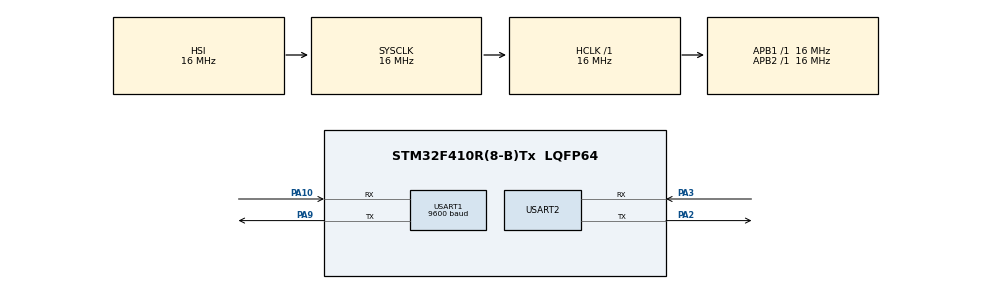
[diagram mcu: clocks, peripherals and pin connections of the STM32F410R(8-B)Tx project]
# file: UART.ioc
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Mcu.Family=STM32F4
Mcu.Name=STM32F410R(8-B)Tx
Mcu.Package=LQFP64
NVIC.PriorityGroup=NVIC_PRIORITYGROUP_4
NVIC.USART1_IRQn=true\:0\:0\:false\:false\:true\:true\:true\:true
NVIC.USART2_IRQn=true\:0\:0\:false\:false\:true\:true\:true\:true
PA10.Mode=Asynchronous
PA10.Signal=USART1_RX
PA13.Mode=Serial_Wire
PA13.Signal=SYS_JTMS-SWDIO
PA14.Mode=Serial_Wire
PA14.Signal=SYS_JTCK-SWCLK
PA2.Mode=Asynchronous
PA2.Signal=USART2_TX
PA3.Mode=Asynchronous
PA3.Signal=USART2_RX
PA9.Mode=Asynchronous
PA9.Signal=USART1_TX
ProjectManager.HeapSize=0x200
ProjectManager.StackSize=0x400
ProjectManager.TargetToolchain=STM32CubeIDE
RCC.AHBFreq_Value=16000000
RCC.APB1Freq_Value=16000000
RCC.APB2Freq_Value=16000000
RCC.CortexFreq_Value=16000000
RCC.HSE_VALUE=25000000
RCC.HSI_VALUE=16000000
RCC.LSE_VALUE=32768
RCC.SYSCLKFreq_VALUE=16000000
RCC.VCOOutputFreq_Value=192000000
USART1.BaudRate=9600
USART1.VirtualMode=VM_ASYNC
USART2.Parity=PARITY_NONE
USART2.VirtualMode=VM_ASYNC
board=custom

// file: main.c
/* USER CODE BEGIN Header */
/**
 ******************************************************************************
 * @file           : main.c
 * @brief          : Main program body
 ******************************************************************************
 * @attention
 *
 * Copyright (c) 2022 STMicroelectronics.
 * All rights reserved.
 *
 * This software is licensed under terms that can be found in the LICENSE file
 * in the root directory of this software component.
 * If no LICENSE file comes with this software, it is provided AS-IS.
 *
 ******************************************************************************
 */
/* USER CODE END Header */
#include "main.h"
#include <string.h>
#include <stdlib.h>

/* USER CODE BEGIN PD */
#define GPS_TRAME_SIZE 1000
/* USER CODE END PD */

UART_HandleTypeDef huart1;
UART_HandleTypeDef huart2;

/* USER CODE BEGIN PV */
char uart_gps_rx[1];
char uart_pc_tx[1];
uint8_t it_rx_gps=0;
int i = 0;
char coordonnees[GPS_TRAME_SIZE];
const char OK[]="OK*35";
char longitude_data[10];
char latitude_data[10];
char position[23];
char lat2[2];
char lat7[7];
char long3[3];
char long7[7];
double lata;
double latb;
double latitude;
double longitude;
int first_data = 0;
int data_rdy = 0;
char uart_tx_buffer[128];

double latENSEA = 49.0389554;
double longiENSEA = 2.0712599;
double DistanceMilesCarre;
double DistanceCarre;

/* USER CODE END PV */

void SystemClock_Config(void);
static void MX_GPIO_Init(void);
static void MX_USART2_UART_Init(void);
static void MX_USART1_UART_Init(void);

/* USER CODE BEGIN 0 */

//lat  49.039566040039062
//long 2.0719516277313232

void Perimetre(void){

	DistanceMilesCarre = (((latENSEA - latitude)*(latENSEA - latitude)) + ((longiENSEA - longitude)*(longiENSEA - longitude)));
	DistanceCarre = (DistanceMilesCarre/3.429904);

	if(DistanceCarre >= 0.0000012){ //Perdu environ à partir de l'arrêt de bus.
		HAL_UART_Transmit(&huart2, uart_tx_buffer, strlen(uart_tx_buffer), HAL_MAX_DELAY);
		sprintf(uart_tx_buffer,"Je suis perdu, venez me chercher. Je suis en lat : %lf, long : %lf \r\n", latitude, longitude);
	}
}

/* USER CODE END 0 */

int main(void)
{

	/* MCU Configuration--------------------------------------------------------*/

	/* Reset of all peripherals, Initializes the Flash interface and the Systick. */
	HAL_Init();

	/* Configure the system clock */
	SystemClock_Config();

	/* Initialize all configured peripherals */
	MX_GPIO_Init();
	MX_USART2_UART_Init();
	MX_USART1_UART_Init();
	/* USER CODE BEGIN 2 */
	HAL_UART_Receive_IT(&huart1, uart_gps_rx, 1);

	/* USER CODE END 2 */

	/* Infinite loop */
	while (1)
	{

		/* USER CODE BEGIN 3 */

		if(it_rx_gps){
			if(data_rdy == 1){
				for(int j = 0; j<=23;j++){
					position[j] = coordonnees[j+18]; //position[] comprend la latitude et la longitude
				}

				for(int k = 0; k<=9;k++){
					latitude_data[k] = position[k]; //latitude non convertie
				}
				for(int l = 0; l<=10;l++){
					longitude_data[l] = position[l+13]; //longitude non convertie
				}

				lat2[0] = latitude_data[0];
				lat2[1] = latitude_data[1]; //lat2 -> les deux digits du degré de la lat.

				for(int m = 0; m<=6;m++){
					lat7[m] = latitude_data[m+2]; //lat 7 -> ce qui reste de la lat.
				}

				long3[0] = longitude_data[0];
				long3[1] = longitude_data[1];
				long3[2] = longitude_data[2]; //long3 -> les trois digits du degré de la long.

				for(int n = 0; n<=6;n++){
					long7[n] = longitude_data[n+3]; //long7 -> ce qui reste de la long.
				}

				float deg_lat = atof(lat2);
				float reste_lat = atof(lat7); //conversion du char[lat] en float[lat]

				float deg_long = atof(long3);
				float reste_long = atof(long7); //conversion du char[long] en float[long]

				latitude = deg_lat + (reste_lat/60); //latitude convertie
				longitude = deg_long + (reste_long/60); //longitude convertie

				HAL_UART_Transmit(&huart2, uart_tx_buffer, strlen(uart_tx_buffer), HAL_MAX_DELAY);
				sprintf(uart_tx_buffer,"latitude : %lf,\r\n longitude : %lf \r\n", latitude, longitude);

				Perimetre();

				data_rdy = 0;

			}
			if(uart_gps_rx[0]==10){
				HAL_UART_Transmit(&huart2, "\r\n", 2, HAL_MAX_DELAY); //Arrangement de la trame
			}
			else{
				uart_pc_tx[0]=uart_gps_rx[0];
				HAL_UART_Transmit(&huart2, uart_pc_tx, 1, HAL_MAX_DELAY);
				coordonnees[i] = uart_pc_tx[0]; //On copie ce qui passe dans l'UART dans un tableau coordonnees[i].
				if(i >= 4){
					if(strncmp("OK*35",&coordonnees[i-4],5) == 0){
						i = 0; //Si on trouve "OK", on réinitialise i à 0 pour synchroniser notre trame.
						if(first_data == 1){
							data_rdy = 1; //Si la trame est initialisée, le premier caractère du tableau voulu est prêt.
						}
						else first_data = 1; //Permet d'enregistrer le tableau désiré.
					}
					else{
						if(i == GPS_TRAME_SIZE-1){
							i = 0;
						}
						else{
							i++;
						}

					}

				}
				else i++;
			}

			it_rx_gps = 0;
		}

	}
	/* USER CODE END 3 */
}

void SystemClock_Config(void)
{
	RCC_OscInitTypeDef RCC_OscInitStruct = {0};
	RCC_ClkInitTypeDef RCC_ClkInitStruct = {0};

	/** Configure the main internal regulator output voltage
	 */
	__HAL_RCC_PWR_CLK_ENABLE();
	__HAL_PWR_VOLTAGESCALING_CONFIG(PWR_REGULATOR_VOLTAGE_SCALE1);

	/** Initializes the RCC Oscillators according to the specified parameters
	 * in the RCC_OscInitTypeDef structure.
	 */
	RCC_OscInitStruct.OscillatorType = RCC_OSCILLATORTYPE_HSI;
	RCC_OscInitStruct.HSIState = RCC_HSI_ON;
	RCC_OscInitStruct.HSICalibrationValue = RCC_HSICALIBRATION_DEFAULT;
	RCC_OscInitStruct.PLL.PLLState = RCC_PLL_NONE;
	if (HAL_RCC_OscConfig(&RCC_OscInitStruct) != HAL_OK)
	{
		Error_Handler();
	}

	/** Initializes the CPU, AHB and APB buses clocks
	 */
	RCC_ClkInitStruct.ClockType = RCC_CLOCKTYPE_HCLK|RCC_CLOCKTYPE_SYSCLK
			|RCC_CLOCKTYPE_PCLK1|RCC_CLOCKTYPE_PCLK2;
	RCC_ClkInitStruct.SYSCLKSource = RCC_SYSCLKSOURCE_HSI;
	RCC_ClkInitStruct.AHBCLKDivider = RCC_SYSCLK_DIV1;
	RCC_ClkInitStruct.APB1CLKDivider = RCC_HCLK_DIV1;
	RCC_ClkInitStruct.APB2CLKDivider = RCC_HCLK_DIV1;

	if (HAL_RCC_ClockConfig(&RCC_ClkInitStruct, FLASH_LATENCY_0) != HAL_OK)
	{
		Error_Handler();
	}
}

static void MX_USART1_UART_Init(void)
{

	huart1.Instance = USART1;
	huart1.Init.BaudRate = 9600;
	huart1.Init.WordLength = UART_WORDLENGTH_8B;
	huart1.Init.StopBits = UART_STOPBITS_1;
	huart1.Init.Parity = UART_PARITY_NONE;
	huart1.Init.Mode = UART_MODE_TX_RX;
	huart1.Init.HwFlowCtl = UART_HWCONTROL_NONE;
	huart1.Init.OverSampling = UART_OVERSAMPLING_16;
	if (HAL_UART_Init(&huart1) != HAL_OK)
	{
		Error_Handler();
	}

}

static void MX_USART2_UART_Init(void)
{

	huart2.Instance = USART2;
	huart2.Init.BaudRate = 115200;
	huart2.Init.WordLength = UART_WORDLENGTH_8B;
	huart2.Init.StopBits = UART_STOPBITS_1;
	huart2.Init.Parity = UART_PARITY_NONE;
	huart2.Init.Mode = UART_MODE_TX_RX;
	huart2.Init.HwFlowCtl = UART_HWCONTROL_NONE;
	huart2.Init.OverSampling = UART_OVERSAMPLING_16;
	if (HAL_UART_Init(&huart2) != HAL_OK)
	{
		Error_Handler();
	}

}

static void MX_GPIO_Init(void)
{

	/* GPIO Ports Clock Enable */
	__HAL_RCC_GPIOA_CLK_ENABLE();

}

/* USER CODE BEGIN 4 */
void HAL_UART_RxCpltCallback(UART_HandleTypeDef *huart){
	it_rx_gps = 1;
	HAL_UART_Receive_IT(&huart1, uart_gps_rx, 1);
}

/* USER CODE END 4 */

void Error_Handler(void)
{
	__disable_irq();
	while (1)
	{
	}
}
